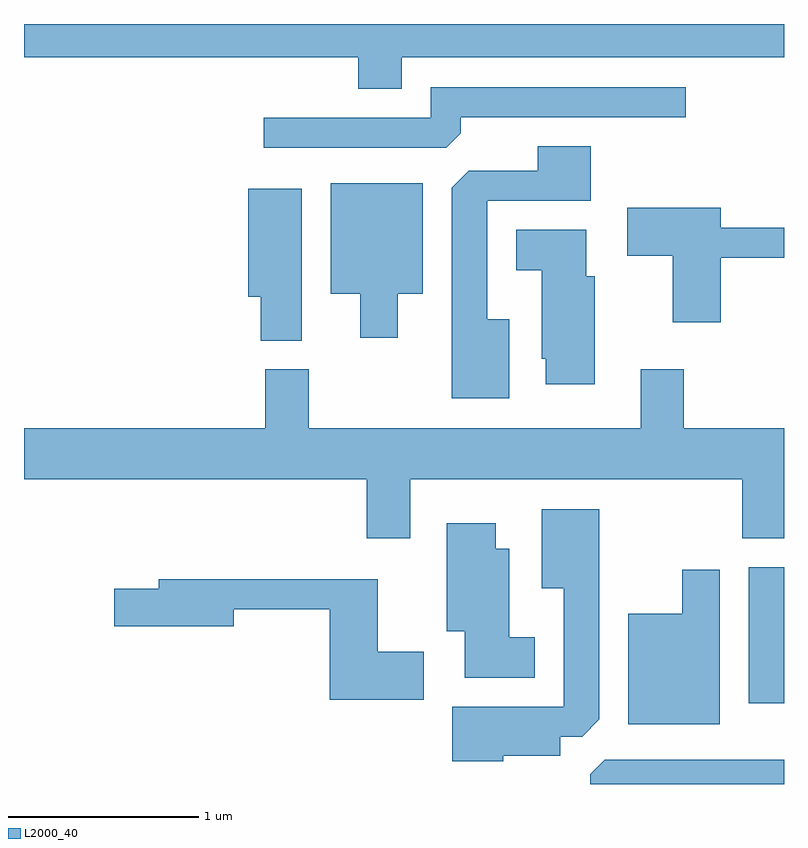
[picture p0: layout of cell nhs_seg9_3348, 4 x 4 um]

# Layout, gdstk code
import gdstk
lib = gdstk.Library(unit=1e-6, precision=1e-09)
def R(c, l, rs):  # rectangles x0, y0, x1, y1
    for r in rs: c.add(gdstk.rectangle(r[:2], r[2:], *l))
def P(c, l, *ps):  # polygons
    for p in ps: c.add(gdstk.Polygon(p, *l))
L2000_40 = (2000, 40)

nhs_seg9_3348 = lib.new_cell('nhs_seg9_3348')
R(nhs_seg9_3348, L2000_40, [(287.426,1992.856,287.611,1993.574)])
P(nhs_seg9_3348, L2000_40, [(285.599,1996.256),(287.611,1996.256),(287.611,1996.432),(283.611,1996.432),(283.611,1996.256),(285.371,1996.256),(285.371,1996.091),(285.599,1996.091)],
  [(285.909,1995.857),(285.909,1995.941),(287.093,1995.941),(287.093,1996.099),(285.751,1996.099),(285.751,1995.939),(284.873,1995.939),(284.873,1995.781),(285.834,1995.781)],
  [(286.164,1994.879),(286.049,1994.879),(286.049,1995.501),(286.594,1995.501),(286.594,1995.789),(286.316,1995.789),(286.316,1995.659),(285.952,1995.659),(285.861,1995.569),(285.861,1994.461),(286.164,1994.461)],
  [(285.579,1995.011),(285.709,1995.011),(285.709,1995.594),(285.226,1995.594),(285.226,1995.011),(285.381,1995.011),(285.381,1994.781),(285.579,1994.781)],
  [(285.074,1995.564),(284.791,1995.564),(284.791,1994.996),(284.856,1994.996),(284.856,1994.766),(285.074,1994.766)],
  [(287.279,1995.201),(287.611,1995.201),(287.611,1995.359),(287.279,1995.359),(287.279,1995.464),(286.786,1995.464),(286.786,1995.211),(287.026,1995.211),(287.026,1994.861),(287.279,1994.861)],
  [(286.614,1995.104),(286.569,1995.104),(286.569,1995.349),(286.201,1995.349),(286.201,1995.136),(286.336,1995.136),(286.336,1994.671),(286.356,1994.671),(286.356,1994.536),(286.614,1994.536)],
  [(285.644,1994.036),(287.391,1994.036),(287.391,1993.726),(287.611,1993.726),(287.611,1994.304),(287.084,1994.304),(287.084,1994.614),(286.856,1994.614),(286.856,1994.304),(285.109,1994.304),(285.109,1994.614),(284.881,1994.614),(284.881,1994.304),(283.611,1994.304),(283.611,1994.036),(285.416,1994.036),(285.416,1993.726),(285.644,1993.726)],
  [(286.134,1992.581),(286.434,1992.581),(286.434,1992.681),(286.549,1992.681),(286.639,1992.772),(286.639,1993.879),(286.336,1993.879),(286.336,1993.461),(286.451,1993.461),(286.451,1992.839),(285.866,1992.839),(285.866,1992.551),(286.134,1992.551)],
  [(286.299,1993.204),(286.164,1993.204),(286.164,1993.669),(286.094,1993.669),(286.094,1993.804),(285.836,1993.804),(285.836,1993.236),(285.931,1993.236),(285.931,1992.991),(286.299,1992.991)],
  [(287.274,1993.559),(287.076,1993.559),(287.076,1993.329),(286.791,1993.329),(286.791,1992.746),(287.274,1992.746)],
  [(285.714,1993.129),(285.474,1993.129),(285.474,1993.509),(284.321,1993.509),(284.321,1993.459),(284.086,1993.459),(284.086,1993.261),(284.714,1993.261),(284.714,1993.351),(285.221,1993.351),(285.221,1992.876),(285.714,1992.876)],
  [(287.611,1992.559),(286.667,1992.559),(286.591,1992.484),(286.591,1992.432),(287.611,1992.432)])

lib.write_gds('nhs_seg9_3348.gds')
